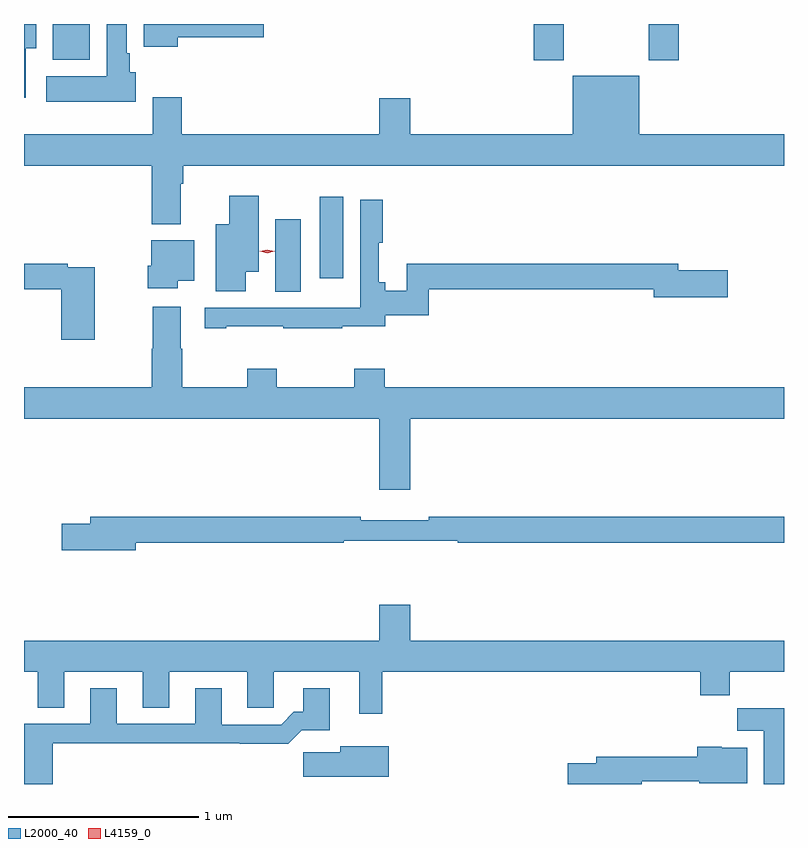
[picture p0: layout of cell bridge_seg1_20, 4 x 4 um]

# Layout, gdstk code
import gdstk
lib = gdstk.Library(unit=1e-6, precision=1e-09)
def R(c, l, rs):  # rectangles x0, y0, x1, y1
    for r in rs: c.add(gdstk.rectangle(r[:2], r[2:], *l))
def P(c, l, *ps):  # polygons
    for p in ps: c.add(gdstk.Polygon(p, *l))
L2000_40 = (2000, 40)
L4159_0 = (4159, 0)

bridge_seg1_20 = lib.new_cell('bridge_seg1_20')
R(bridge_seg1_20, L2000_40, [(703.922,581.704,704.056,582.085), (704.156,581.775,704.278,582.205), (705.281,582.921,705.441,583.113), (705.886,582.921,706.046,583.113), (702.749,582.926,702.946,583.113)])
P(bridge_seg1_20, L2000_40, [(703.186,582.858),(703.156,582.858),(703.156,582.958),(703.141,582.958),(703.141,583.113),(703.034,583.113),(703.034,582.838),(702.717,582.838),(702.717,582.704),(703.186,582.704)],
  [(702.607,582.985),(702.664,582.985),(702.664,583.113),(702.599,583.113),(702.599,582.726),(702.607,582.726)],
  [(703.408,583.043),(703.861,583.043),(703.861,583.113),(703.229,583.113),(703.229,582.992),(703.408,582.992)],
  [(703.423,582.272),(703.436,582.272),(703.436,582.368),(706.599,582.368),(706.599,582.532),(705.838,582.532),(705.838,582.841),(705.488,582.841),(705.488,582.532),(704.632,582.532),(704.632,582.721),(704.468,582.721),(704.468,582.532),(703.43,582.532),(703.43,582.727),(703.277,582.727),(703.277,582.532),(702.599,582.532),(702.599,582.368),(703.271,582.368),(703.271,582.059),(703.423,582.059)],
  [(703.765,581.81),(703.834,581.81),(703.834,582.208),(703.679,582.208),(703.679,582.058),(703.607,582.058),(703.607,581.706),(703.765,581.706)],
  [(703.663,581.521),(703.963,581.521),(703.963,581.511),(704.273,581.511),(704.273,581.521),(704.5,581.521),(704.5,581.58),(704.729,581.58),(704.729,581.716),(705.914,581.716),(705.914,581.674),(706.303,581.674),(706.303,581.816),(706.042,581.816),(706.042,581.852),(704.613,581.852),(704.613,581.708),(704.5,581.708),(704.5,581.755),(704.467,581.755),(704.467,581.963),(704.486,581.963),(704.486,582.187),(704.37,582.187),(704.37,581.62),(704.16,581.62),(704.16,581.619),(703.551,581.619),(703.551,581.511),(703.663,581.511)],
  [(703.408,581.762),(703.495,581.762),(703.495,581.974),(703.268,581.974),(703.268,581.841),(703.25,581.841),(703.25,581.723),(703.408,581.723)],
  [(702.972,581.832),(702.83,581.832),(702.83,581.852),(702.599,581.852),(702.599,581.716),(702.794,581.716),(702.794,581.451),(702.972,581.451)],
  [(704.632,581.036),(706.599,581.036),(706.599,581.2),(704.498,581.2),(704.498,581.299),(704.338,581.299),(704.338,581.2),(703.929,581.2),(703.929,581.299),(703.774,581.299),(703.774,581.2),(703.431,581.2),(703.431,581.405),(703.423,581.405),(703.423,581.626),(703.276,581.626),(703.276,581.405),(703.271,581.405),(703.271,581.2),(702.599,581.2),(702.599,581.036),(704.468,581.036),(704.468,580.662),(704.632,580.662)],
  [(703.186,580.384),(704.282,580.384),(704.282,580.392),(704.882,580.392),(704.882,580.384),(706.599,580.384),(706.599,580.52),(704.728,580.52),(704.728,580.501),(704.372,580.501),(704.372,580.52),(702.947,580.52),(702.947,580.484),(702.798,580.484),(702.798,580.342),(703.186,580.342)],
  [(704.485,579.704),(706.157,579.704),(706.157,579.58),(706.313,579.58),(706.313,579.704),(706.599,579.704),(706.599,579.868),(704.632,579.868),(704.632,580.057),(704.468,580.057),(704.468,579.868),(702.599,579.868),(702.599,579.704),(702.671,579.704),(702.671,579.514),(702.811,579.514),(702.811,579.704),(703.223,579.704),(703.223,579.514),(703.363,579.514),(703.363,579.704),(703.775,579.704),(703.775,579.514),(703.914,579.514),(703.914,579.704),(704.363,579.704),(704.363,579.483),(704.485,579.483)],
  [(702.751,579.328),(703.735,579.328),(703.735,579.326),(703.991,579.326),(704.06,579.395),(704.209,579.395),(704.209,579.616),(704.069,579.616),(704.069,579.493),(704.02,579.493),(703.953,579.426),(703.639,579.426),(703.639,579.616),(703.499,579.616),(703.499,579.429),(703.087,579.429),(703.087,579.616),(702.947,579.616),(702.947,579.429),(702.599,579.429),(702.599,579.113),(702.751,579.113)],
  [(706.599,579.511),(706.354,579.511),(706.354,579.392),(706.493,579.392),(706.493,579.113),(706.599,579.113)],
  [(704.518,579.313),(704.264,579.313),(704.264,579.281),(704.07,579.281),(704.07,579.152),(704.518,579.152)],
  [(705.85,579.127),(706.154,579.127),(706.154,579.116),(706.405,579.116),(706.405,579.304),(706.272,579.304),(706.272,579.31),(706.142,579.31),(706.142,579.256),(705.611,579.256),(705.611,579.222),(705.462,579.222),(705.462,579.113),(705.85,579.113)])
P(bridge_seg1_20, L4159_0, [(703.88,581.906),(703.84,581.916),(703.839,581.916),(703.84,581.917),(703.88,581.926),(703.92,581.916),(703.92,581.916),(703.92,581.916)])

lib.write_gds('bridge_seg1_20.gds')
